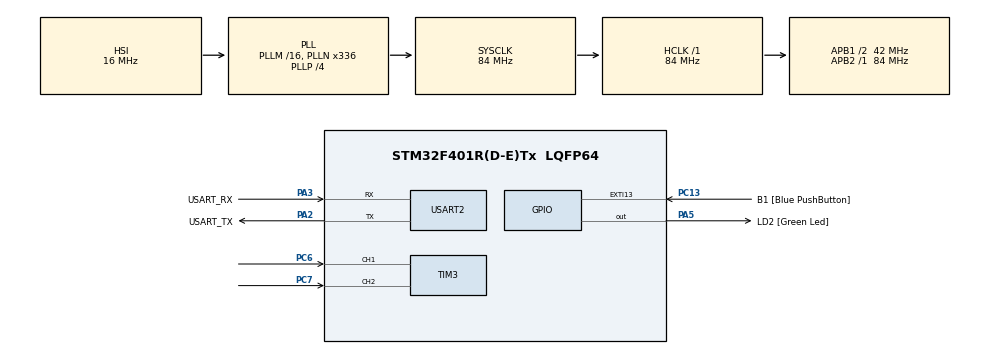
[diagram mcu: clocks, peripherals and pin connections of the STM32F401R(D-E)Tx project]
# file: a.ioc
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Dma.Request0=USART2_TX
Dma.USART2_TX.0.Direction=DMA_MEMORY_TO_PERIPH
Dma.USART2_TX.0.FIFOMode=DMA_FIFOMODE_DISABLE
Dma.USART2_TX.0.Instance=DMA1_Stream6
Dma.USART2_TX.0.MemDataAlignment=DMA_MDATAALIGN_BYTE
Dma.USART2_TX.0.MemInc=DMA_MINC_ENABLE
Dma.USART2_TX.0.Mode=DMA_NORMAL
Dma.USART2_TX.0.PeriphDataAlignment=DMA_PDATAALIGN_BYTE
Dma.USART2_TX.0.PeriphInc=DMA_PINC_DISABLE
Dma.USART2_TX.0.Priority=DMA_PRIORITY_LOW
Mcu.Family=STM32F4
Mcu.Name=STM32F401R(D-E)Tx
Mcu.Package=LQFP64
NVIC.DMA1_Stream6_IRQn=true\:0\:0\:false\:false\:true\:false\:true\:true
NVIC.PriorityGroup=NVIC_PRIORITYGROUP_0
NVIC.TIM2_IRQn=true\:0\:0\:false\:false\:true\:true\:true\:true
NVIC.USART2_IRQn=true\:0\:0\:false\:false\:true\:true\:true\:true
PA13.GPIO_Label=TMS
PA13.Mode=Serial_Wire
PA13.Signal=SYS_JTMS-SWDIO
PA14.GPIO_Label=TCK
PA14.Mode=Serial_Wire
PA14.Signal=SYS_JTCK-SWCLK
PA2.GPIO_Label=USART_TX
PA2.GPIO_Mode=GPIO_MODE_AF_PP
PA2.GPIO_PuPd=GPIO_NOPULL
PA2.GPIO_Speed=GPIO_SPEED_FREQ_LOW
PA2.Mode=Asynchronous
PA2.Signal=USART2_TX
PA3.GPIO_Label=USART_RX
PA3.GPIO_Mode=GPIO_MODE_AF_PP
PA3.GPIO_PuPd=GPIO_NOPULL
PA3.GPIO_Speed=GPIO_SPEED_FREQ_LOW
PA3.Mode=Asynchronous
PA3.Signal=USART2_RX
PA5.GPIO_Label=LD2 [Green Led]
PA5.GPIO_Mode=GPIO_MODE_OUTPUT_PP
PA5.GPIO_PuPd=GPIO_NOPULL
PA5.GPIO_Speed=GPIO_SPEED_FREQ_LOW
PA5.Signal=GPIO_Output
PB3.GPIO_Label=SWO
PB3.Signal=SYS_JTDO-SWO
PC13-ANTI_TAMP.GPIO_Label=B1 [Blue PushButton]
PC13-ANTI_TAMP.GPIO_ModeDefaultEXTI=GPIO_MODE_IT_FALLING
PC13-ANTI_TAMP.GPIO_PuPd=GPIO_NOPULL
PC13-ANTI_TAMP.Signal=GPXTI13
PC14-OSC32_IN.Mode=LSE-External-Oscillator
PC14-OSC32_IN.Signal=RCC_OSC32_IN
PC15-OSC32_OUT.Mode=LSE-External-Oscillator
PC15-OSC32_OUT.Signal=RCC_OSC32_OUT
PC6.Signal=S_TIM3_CH1
PC7.Signal=S_TIM3_CH2
PH0\ -\ OSC_IN.Mode=HSE-External-Clock-Source
PH0\ -\ OSC_IN.Signal=RCC_OSC_IN
PH1\ -\ OSC_OUT.Mode=HSE-External-Clock-Source
PH1\ -\ OSC_OUT.Signal=RCC_OSC_OUT
ProjectManager.HeapSize=0x200
ProjectManager.StackSize=0x400
ProjectManager.TargetToolchain=STM32CubeIDE
RCC.48MHZClocksFreq_Value=48000000
RCC.AHBFreq_Value=84000000
RCC.APB1CLKDivider=RCC_HCLK_DIV2
RCC.APB1Freq_Value=42000000
RCC.APB1TimFreq_Value=84000000
RCC.APB2Freq_Value=84000000
RCC.APB2TimFreq_Value=84000000
RCC.CortexFreq_Value=84000000
RCC.HCLKFreq_Value=84000000
RCC.HSE_VALUE=8000000
RCC.HSI_VALUE=16000000
RCC.PLLN=336
RCC.PLLP=RCC_PLLP_DIV4
RCC.PLLQ=7
RCC.SYSCLKFreq_VALUE=84000000
RCC.SYSCLKSource=RCC_SYSCLKSOURCE_PLLCLK
RCC.VCOOutputFreq_Value=336000000
SH.S_TIM3_CH1.0=TIM3_CH1,Encoder_Interface
SH.S_TIM3_CH2.0=TIM3_CH2,Encoder_Interface
TIM2.AutoReloadPreload=TIM_AUTORELOAD_PRELOAD_DISABLE
TIM2.Period=10000-1
TIM2.Prescaler=8400-1
TIM3.ClockDivision=TIM_CLOCKDIVISION_DIV4
TIM3.EncoderMode=TIM_ENCODERMODE_TI2
TIM3.IC1Filter=15
TIM3.IC1Polarity=TIM_ICPOLARITY_RISING
TIM3.IC1Prescaler=TIM_ICPSC_DIV1
TIM3.IC2Filter=15
TIM3.IC2Polarity=TIM_ICPOLARITY_FALLING
TIM3.IC2Prescaler=TIM_ICPSC_DIV1
USART2.VirtualMode=VM_ASYNC
VP_TIM2_VS_ClockSourceINT.Mode=Internal
board=NUCLEO-F401RE

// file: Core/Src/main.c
/* USER CODE BEGIN Header */
/**
 ******************************************************************************
 * @file           : main.c
 * @brief          : Main program body
 ******************************************************************************
 * @attention
 *
 * Copyright (c) 2023 STMicroelectronics.
 * All rights reserved.
 *
 * This software is licensed under terms that can be found in the LICENSE file
 * in the root directory of this software component.
 * If no LICENSE file comes with this software, it is provided AS-IS.
 *
 ******************************************************************************
 */
/* USER CODE END Header */
#include "main.h"

/* USER CODE BEGIN Includes */
#include <stdio.h>
/* USER CODE END Includes */

TIM_HandleTypeDef htim2;
TIM_HandleTypeDef htim3;

UART_HandleTypeDef huart2;
DMA_HandleTypeDef hdma_usart2_tx;

void SystemClock_Config(void);
static void MX_GPIO_Init(void);
static void MX_DMA_Init(void);
static void MX_USART2_UART_Init(void);
static void MX_TIM3_Init(void);
static void MX_TIM2_Init(void);

int main(void) {

	/* MCU Configuration--------------------------------------------------------*/

	/* Reset of all peripherals, Initializes the Flash interface and the Systick. */
	HAL_Init();

	/* Configure the system clock */
	SystemClock_Config();

	/* Initialize all configured peripherals */
	MX_GPIO_Init();
	MX_DMA_Init();
	MX_USART2_UART_Init();
	MX_TIM3_Init();
	MX_TIM2_Init();
	/* USER CODE BEGIN 2 */
	HAL_TIM_Base_Start_IT(&htim2);
	HAL_TIM_Encoder_Start(&htim3, TIM_CHANNEL_ALL);

	/* USER CODE END 2 */

	/* Infinite loop */
	while (1) {

	}
}

void SystemClock_Config(void) {
	RCC_OscInitTypeDef RCC_OscInitStruct = { 0 };
	RCC_ClkInitTypeDef RCC_ClkInitStruct = { 0 };

	/** Configure the main internal regulator output voltage
	 */
	__HAL_RCC_PWR_CLK_ENABLE();
	__HAL_PWR_VOLTAGESCALING_CONFIG(PWR_REGULATOR_VOLTAGE_SCALE2);

	/** Initializes the RCC Oscillators according to the specified parameters
	 * in the RCC_OscInitTypeDef structure.
	 */
	RCC_OscInitStruct.OscillatorType = RCC_OSCILLATORTYPE_HSI;
	RCC_OscInitStruct.HSIState = RCC_HSI_ON;
	RCC_OscInitStruct.HSICalibrationValue = RCC_HSICALIBRATION_DEFAULT;
	RCC_OscInitStruct.PLL.PLLState = RCC_PLL_ON;
	RCC_OscInitStruct.PLL.PLLSource = RCC_PLLSOURCE_HSI;
	RCC_OscInitStruct.PLL.PLLM = 16;
	RCC_OscInitStruct.PLL.PLLN = 336;
	RCC_OscInitStruct.PLL.PLLP = RCC_PLLP_DIV4;
	RCC_OscInitStruct.PLL.PLLQ = 7;
	if (HAL_RCC_OscConfig(&RCC_OscInitStruct) != HAL_OK) {
		Error_Handler();
	}

	/** Initializes the CPU, AHB and APB buses clocks
	 */
	RCC_ClkInitStruct.ClockType = RCC_CLOCKTYPE_HCLK | RCC_CLOCKTYPE_SYSCLK
			| RCC_CLOCKTYPE_PCLK1 | RCC_CLOCKTYPE_PCLK2;
	RCC_ClkInitStruct.SYSCLKSource = RCC_SYSCLKSOURCE_PLLCLK;
	RCC_ClkInitStruct.AHBCLKDivider = RCC_SYSCLK_DIV1;
	RCC_ClkInitStruct.APB1CLKDivider = RCC_HCLK_DIV2;
	RCC_ClkInitStruct.APB2CLKDivider = RCC_HCLK_DIV1;

	if (HAL_RCC_ClockConfig(&RCC_ClkInitStruct, FLASH_LATENCY_2) != HAL_OK) {
		Error_Handler();
	}
}

static void MX_TIM2_Init(void) {

	TIM_ClockConfigTypeDef sClockSourceConfig = { 0 };
	TIM_MasterConfigTypeDef sMasterConfig = { 0 };

	htim2.Instance = TIM2;
	htim2.Init.Prescaler = 8400 - 1;
	htim2.Init.CounterMode = TIM_COUNTERMODE_UP;
	htim2.Init.Period = 10000 - 1;
	htim2.Init.ClockDivision = TIM_CLOCKDIVISION_DIV1;
	htim2.Init.AutoReloadPreload = TIM_AUTORELOAD_PRELOAD_DISABLE;
	if (HAL_TIM_Base_Init(&htim2) != HAL_OK) {
		Error_Handler();
	}
	sClockSourceConfig.ClockSource = TIM_CLOCKSOURCE_INTERNAL;
	if (HAL_TIM_ConfigClockSource(&htim2, &sClockSourceConfig) != HAL_OK) {
		Error_Handler();
	}
	sMasterConfig.MasterOutputTrigger = TIM_TRGO_RESET;
	sMasterConfig.MasterSlaveMode = TIM_MASTERSLAVEMODE_DISABLE;
	if (HAL_TIMEx_MasterConfigSynchronization(&htim2, &sMasterConfig)
			!= HAL_OK) {
		Error_Handler();
	}
}

static void MX_TIM3_Init(void) {

	TIM_Encoder_InitTypeDef sConfig = { 0 };
	TIM_MasterConfigTypeDef sMasterConfig = { 0 };

	htim3.Instance = TIM3;
	htim3.Init.Prescaler = 0;
	htim3.Init.CounterMode = TIM_COUNTERMODE_UP;
	htim3.Init.Period = 65535;
	htim3.Init.ClockDivision = TIM_CLOCKDIVISION_DIV4;
	htim3.Init.AutoReloadPreload = TIM_AUTORELOAD_PRELOAD_DISABLE;
	sConfig.EncoderMode = TIM_ENCODERMODE_TI2;
	sConfig.IC1Polarity = TIM_ICPOLARITY_RISING;
	sConfig.IC1Selection = TIM_ICSELECTION_DIRECTTI;
	sConfig.IC1Prescaler = TIM_ICPSC_DIV1;
	sConfig.IC1Filter = 15;
	sConfig.IC2Polarity = TIM_ICPOLARITY_FALLING;
	sConfig.IC2Selection = TIM_ICSELECTION_DIRECTTI;
	sConfig.IC2Prescaler = TIM_ICPSC_DIV1;
	sConfig.IC2Filter = 15;
	if (HAL_TIM_Encoder_Init(&htim3, &sConfig) != HAL_OK) {
		Error_Handler();
	}
	sMasterConfig.MasterOutputTrigger = TIM_TRGO_RESET;
	sMasterConfig.MasterSlaveMode = TIM_MASTERSLAVEMODE_DISABLE;
	if (HAL_TIMEx_MasterConfigSynchronization(&htim3, &sMasterConfig)
			!= HAL_OK) {
		Error_Handler();
	}
}

static void MX_USART2_UART_Init(void) {

	huart2.Instance = USART2;
	huart2.Init.BaudRate = 115200;
	huart2.Init.WordLength = UART_WORDLENGTH_8B;
	huart2.Init.StopBits = UART_STOPBITS_1;
	huart2.Init.Parity = UART_PARITY_NONE;
	huart2.Init.Mode = UART_MODE_TX_RX;
	huart2.Init.HwFlowCtl = UART_HWCONTROL_NONE;
	huart2.Init.OverSampling = UART_OVERSAMPLING_16;
	if (HAL_UART_Init(&huart2) != HAL_OK) {
		Error_Handler();
	}
}

static void MX_DMA_Init(void) {

	/* DMA controller clock enable */
	__HAL_RCC_DMA1_CLK_ENABLE();

	/* DMA interrupt init */
	/* DMA1_Stream6_IRQn interrupt configuration */
	HAL_NVIC_SetPriority(DMA1_Stream6_IRQn, 0, 0);
	HAL_NVIC_EnableIRQ(DMA1_Stream6_IRQn);
}

static void MX_GPIO_Init(void) {
	GPIO_InitTypeDef GPIO_InitStruct = { 0 };

	/* GPIO Ports Clock Enable */
	__HAL_RCC_GPIOC_CLK_ENABLE();
	__HAL_RCC_GPIOH_CLK_ENABLE();
	__HAL_RCC_GPIOA_CLK_ENABLE();
	__HAL_RCC_GPIOB_CLK_ENABLE();

	/*Configure GPIO pin Output Level */
	HAL_GPIO_WritePin(LD2_GPIO_Port, LD2_Pin, GPIO_PIN_RESET);

	/*Configure GPIO pin : B1_Pin */
	GPIO_InitStruct.Pin = B1_Pin;
	GPIO_InitStruct.Mode = GPIO_MODE_IT_FALLING;
	GPIO_InitStruct.Pull = GPIO_NOPULL;
	HAL_GPIO_Init(B1_GPIO_Port, &GPIO_InitStruct);

	/*Configure GPIO pin : LD2_Pin */
	GPIO_InitStruct.Pin = LD2_Pin;
	GPIO_InitStruct.Mode = GPIO_MODE_OUTPUT_PP;
	GPIO_InitStruct.Pull = GPIO_NOPULL;
	GPIO_InitStruct.Speed = GPIO_SPEED_FREQ_LOW;
	HAL_GPIO_Init(LD2_GPIO_Port, &GPIO_InitStruct);

}

/* USER CODE BEGIN 4 */
void HAL_TIM_PeriodElapsedCallback(TIM_HandleTypeDef *htim) {
	char buffer[100];
	int len;

	if (htim == &htim2) {
		static uint16_t old_value = 0;
		uint16_t new_value = __HAL_TIM_GET_COUNTER(&htim3);

		int diff = new_value - old_value;

		if (diff < -65535 / 2) {
			// Handle overflow
			diff += 65536;
		} else if (diff > 65535 / 2) {
			// Handle underflow
			diff -= 65536;
		}

		// Update old_value
		old_value = new_value;

		// Compute RPM
		float rpm = diff / 12.0f / 2.0f * 60.0f;

		// Print data
		len = sprintf(buffer, "Speed: %f [rpm]\n\r", rpm);
		HAL_UART_Transmit_DMA(&huart2, buffer, len);
	}
}
/* USER CODE END 4 */

void Error_Handler(void) {
	__disable_irq();
	while (1) {
	}
}
